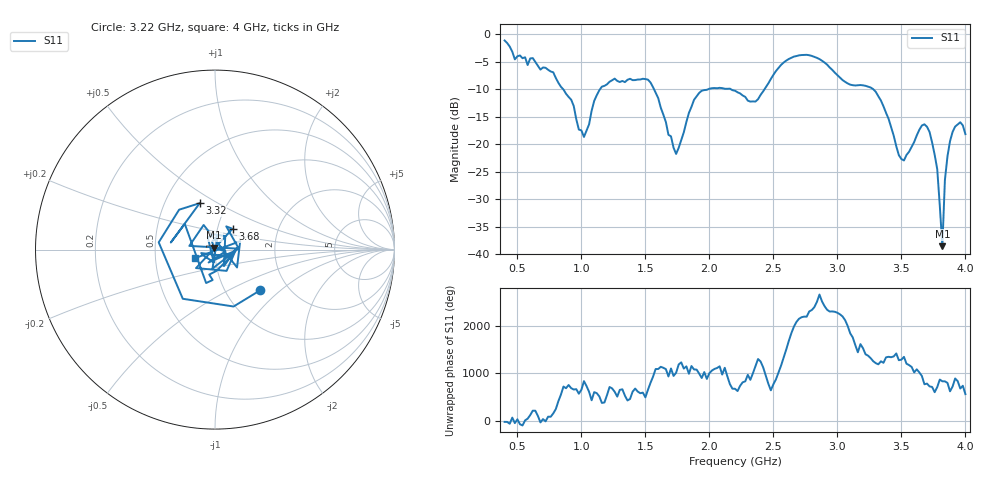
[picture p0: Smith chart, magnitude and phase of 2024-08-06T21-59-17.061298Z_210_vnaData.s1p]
!Created with skrf (http://scikit-rf.org).
# Hz S RI R 50.0
!freq ReS11 ImS11
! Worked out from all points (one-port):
!   181 points, 400 MHz to 4 GHz, reference 50 ohm
!   lowest |S11| = -38.6 dB at 3.82 GHz (marker M1), VSWR 1.02, Z = 49.6 + j1.08 ohm
!   |S11| at or under -10 dB: 857.4 MHz to 1.146 GHz (288.4 MHz wide, 28.8 % of centre); 1.567 GHz to 1.991 GHz (424.5 MHz wide, 23.9 % of centre); 3.28 GHz to end of sweep (the widest 3 of 4)
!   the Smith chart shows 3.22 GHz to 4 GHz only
!   S11 on the Smith chart (normalised r, x): 3.22 GHz: 1.45, -0.74; 3.32 GHz: 0.74, +0.42; 3.68 GHz: 1.18, +0.28; 4 GHz: 0.79, -0.08
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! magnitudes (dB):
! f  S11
! 400 MHz  -1.1
! 480 MHz  -4.6
! 620 MHz  -4.3
! 860 MHz  -10.1
! 1.02 GHz  -18.7
! 1.14 GHz  -10.2
! 1.3 GHz  -8.7
! 1.54 GHz  -8.8
! 1.74 GHz  -21.8
! 1.76 GHz  -20.7
! 1.92 GHz  -10.7
! 2.2 GHz  -10.3
! 2.36 GHz  -12.2
! 2.66 GHz  -4.1
! 2.86 GHz  -4.5
! 3.1 GHz  -9.2
! 3.22 GHz  -9.4
! 3.32 GHz  -11.3
! 3.48 GHz  -22.0
! 3.56 GHz  -21.4
! 3.68 GHz  -16.4
! 3.72 GHz  -17.8
! 3.78 GHz  -24.6
! 3.82 GHz  -38.6
! 3.84 GHz  -26.5
! 3.88 GHz  -19.4
! 3.96 GHz  -16.0
! 4 GHz  -18.2
